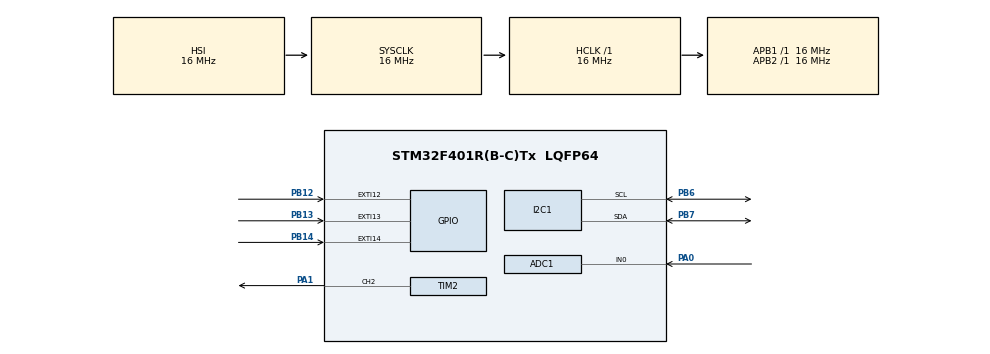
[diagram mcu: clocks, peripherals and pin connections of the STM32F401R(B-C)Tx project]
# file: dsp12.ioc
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ADC1.Channel-0\#ChannelRegularConversion=ADC_CHANNEL_0
ADC1.NbrOfConversionFlag=1
ADC1.Rank-0\#ChannelRegularConversion=1
ADC1.SamplingTime-0\#ChannelRegularConversion=ADC_SAMPLETIME_3CYCLES
ADC1.master=1
Dma.ADC1.0.Direction=DMA_PERIPH_TO_MEMORY
Dma.ADC1.0.FIFOMode=DMA_FIFOMODE_DISABLE
Dma.ADC1.0.Instance=DMA2_Stream0
Dma.ADC1.0.MemDataAlignment=DMA_MDATAALIGN_HALFWORD
Dma.ADC1.0.MemInc=DMA_MINC_ENABLE
Dma.ADC1.0.Mode=DMA_CIRCULAR
Dma.ADC1.0.PeriphDataAlignment=DMA_PDATAALIGN_HALFWORD
Dma.ADC1.0.PeriphInc=DMA_PINC_DISABLE
Dma.ADC1.0.Priority=DMA_PRIORITY_VERY_HIGH
Dma.Request0=ADC1
Dma.Request1=TIM2_CH2/CH4
Dma.TIM2_CH2/CH4.1.Direction=DMA_PERIPH_TO_MEMORY
Dma.TIM2_CH2/CH4.1.FIFOMode=DMA_FIFOMODE_DISABLE
Dma.TIM2_CH2/CH4.1.Instance=DMA1_Stream6
Dma.TIM2_CH2/CH4.1.MemDataAlignment=DMA_MDATAALIGN_HALFWORD
Dma.TIM2_CH2/CH4.1.MemInc=DMA_MINC_ENABLE
Dma.TIM2_CH2/CH4.1.Mode=DMA_CIRCULAR
Dma.TIM2_CH2/CH4.1.PeriphDataAlignment=DMA_PDATAALIGN_HALFWORD
Dma.TIM2_CH2/CH4.1.PeriphInc=DMA_PINC_DISABLE
Dma.TIM2_CH2/CH4.1.Priority=DMA_PRIORITY_HIGH
Mcu.Family=STM32F4
Mcu.Name=STM32F401R(B-C)Tx
Mcu.Package=LQFP64
NVIC.DMA1_Stream6_IRQn=true\:0\:0\:false\:false\:true\:false\:true\:true
NVIC.DMA2_Stream0_IRQn=true\:0\:0\:false\:false\:true\:false\:true\:true
NVIC.EXTI15_10_IRQn=true\:0\:0\:false\:false\:true\:true\:true\:true
NVIC.I2C1_ER_IRQn=true\:0\:0\:false\:false\:true\:true\:true\:true
NVIC.I2C1_EV_IRQn=true\:0\:0\:false\:false\:true\:true\:true\:true
NVIC.PriorityGroup=NVIC_PRIORITYGROUP_4
PA0-WKUP.Signal=ADCx_IN0
PA1.GPIO_Speed=GPIO_SPEED_FREQ_VERY_HIGH
PA1.Signal=S_TIM2_CH2
PB12.GPIO_ModeDefaultEXTI=GPIO_MODE_IT_RISING_FALLING
PB12.GPIO_PuPd=GPIO_PULLUP
PB12.Signal=GPXTI12
PB13.GPIO_ModeDefaultEXTI=GPIO_MODE_IT_RISING_FALLING
PB13.GPIO_PuPd=GPIO_PULLUP
PB13.Signal=GPXTI13
PB14.GPIO_ModeDefaultEXTI=GPIO_MODE_IT_RISING_FALLING
PB14.GPIO_PuPd=GPIO_PULLUP
PB14.Signal=GPXTI14
PB6.GPIO_Pu=GPIO_PULLUP
PB6.Mode=I2C
PB6.Signal=I2C1_SCL
PB7.GPIO_Pu=GPIO_PULLUP
PB7.Mode=I2C
PB7.Signal=I2C1_SDA
ProjectManager.HeapSize=0x200
ProjectManager.StackSize=0x400
ProjectManager.TargetToolchain=STM32CubeIDE
RCC.AHBFreq_Value=16000000
RCC.APB1Freq_Value=16000000
RCC.APB2Freq_Value=16000000
RCC.CortexFreq_Value=16000000
RCC.HSE_VALUE=25000000
RCC.HSI_VALUE=16000000
RCC.LSE_VALUE=32768
RCC.SYSCLKFreq_VALUE=16000000
RCC.VCOOutputFreq_Value=192000000
SH.ADCx_IN0.0=ADC1_IN0,IN0
SH.S_TIM2_CH2.0=TIM2_CH2,PWM Generation2 CH2
TIM2.AutoReloadPreload=TIM_AUTORELOAD_PRELOAD_ENABLE
TIM2.Channel-PWM\ Generation2\ CH2=TIM_CHANNEL_2
TIM2.OCFastMode_PWM-PWM\ Generation2\ CH2=TIM_OCFAST_ENABLE
TIM2.Period=4095
VP_TIM2_VS_ClockSourceINT.Mode=Internal
board=custom

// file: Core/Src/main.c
/* USER CODE BEGIN Header */
/**
  ******************************************************************************
  * @file           : main.c
  * @brief          : Main program body
  ******************************************************************************
  * @attention
  *
  * Copyright (c) 2025 STMicroelectronics.
  * All rights reserved.
  *
  * This software is licensed under terms that can be found in the LICENSE file
  * in the root directory of this software component.
  * If no LICENSE file comes with this software, it is provided AS-IS.
  *
  ******************************************************************************
  */
/* USER CODE END Header */
#include "main.h"

/* USER CODE BEGIN Includes */

#include "ssd1306.h"
#include <stdio.h>
#include "ssd1306_fonts.h"
#include "arm_math.h"
#include <stdbool.h>  // ✅ Enables `bool`, `true`, and `false`

/* USER CODE END Includes */

ADC_HandleTypeDef hadc1;
DMA_HandleTypeDef hdma_adc1;

I2C_HandleTypeDef hi2c1;

TIM_HandleTypeDef htim2;
DMA_HandleTypeDef hdma_tim2_ch2_ch4;

/* USER CODE BEGIN PV */
#define AUDIO_BUFFER_SIZE 1024
#define FFT_SIZE 1024  // Must be power of 2 for CMSIS-DSP FFT

uint16_t adc_buffer[AUDIO_BUFFER_SIZE];  // ADC samples
uint16_t pwm_buffer[AUDIO_BUFFER_SIZE];  // PWM output

float32_t fft_input[FFT_SIZE * 2];  // Complex input for FFT
float32_t fft_output[FFT_SIZE * 2]; // Complex output for FFT

arm_rfft_fast_instance_f32 fft_instance;  // CMSIS-DSP FFT instance

// Filter Parameters
float center_freq = 700.0f;  // Center frequency in Hz
float bandwidth = 150.0f;  // Bandwidth in Hz
float sample_rate = 16000.0f;  // Sample rate in Hz

volatile int32_t encoder_count = 0;  // Tracks encoder position
volatile uint8_t setting_mode = 0;  // 0 = Adjust Center Frequency, 1 = Adjust Bandwidth
volatile uint8_t last_encoder_state = 0;
volatile uint8_t button_pressed = 0;  // Detects button press

#define MIN_CENTER_FREQ 300.0f  // Lower limit for center frequency
#define MAX_CENTER_FREQ 3000.0f // Upper limit for center frequency
#define MIN_BANDWIDTH 50.0f     // Minimum bandwidth
#define MAX_BANDWIDTH 1000.0f   // Maximum bandwidth

// Global buffers (avoid stack overflow)
float32_t input_f32[AUDIO_BUFFER_SIZE];
float32_t output_f32[AUDIO_BUFFER_SIZE];
/* USER CODE END PV */

void SystemClock_Config(void);
static void MX_GPIO_Init(void);
static void MX_DMA_Init(void);
static void MX_ADC1_Init(void);
static void MX_TIM2_Init(void);
static void MX_I2C1_Init(void);
/* USER CODE BEGIN PFP */
void Update_Display(void);
void Init_Display(void);  //Function prototype
void Read_Encoder(void);
void MX_GPIO_Init(void);
void MX_DMA_Init(void);
void MX_ADC1_Init(void);
void MX_TIM2_Init(void);
void MX_I2C1_Init(void);
/* USER CODE END PFP */

int main(void)
{

  /* MCU Configuration--------------------------------------------------------*/

  /* Reset of all peripherals, Initializes the Flash interface and the Systick. */
  HAL_Init();

  /* Configure the system clock */
  SystemClock_Config();

  /* Initialize all configured peripherals */
  MX_GPIO_Init();
  MX_DMA_Init();
  MX_ADC1_Init();
  MX_TIM2_Init();
  MX_I2C1_Init();

  /* USER CODE BEGIN 2 */
  HAL_Delay(1000);  // Wait for OLED power-up

  HAL_StatusTypeDef result;
  uint8_t address = 0x3C << 1;  // Default SSD1306 I2C address

  // Check if OLED is detected
  result = HAL_I2C_IsDeviceReady(&hi2c1, address, 3, HAL_MAX_DELAY);
  if (result != HAL_OK) {
      ssd1306_Init();
      ssd1306_Fill(Black);
      ssd1306_SetCursor(10, 10);
      ssd1306_WriteString("I2C FAIL", Font_7x10, White);
      ssd1306_UpdateScreen();
      while (1);
  }

  // ✅ OLED is detected, continue initialization
  ssd1306_Init();
  ssd1306_Fill(Black);
  ssd1306_SetCursor(10, 10);
  ssd1306_WriteString("VA3WAV", Font_11x18, White);
  ssd1306_UpdateScreen();

  // ✅ Initialize FFT
  arm_rfft_fast_init_f32(&fft_instance, FFT_SIZE);

  Init_Display();
  Update_Display();  // Show filter parameters

  // ✅ Start ADC and PWM DMA
  HAL_ADC_Start_DMA(&hadc1, (uint32_t*)adc_buffer, AUDIO_BUFFER_SIZE);
  HAL_TIM_PWM_Start_DMA(&htim2, TIM_CHANNEL_2, (uint32_t*)pwm_buffer, AUDIO_BUFFER_SIZE);

  /* USER CODE END 2 */

  /* Infinite loop */
  /* USER CODE BEGIN WHILE */
  while (1)
  { Read_Encoder();  // Check encoder rotation
  Update_Display();  // Refresh OLED if value changed
  HAL_Delay(2);  // Avoid excessive updates
  }
    /* USER CODE END WHILE */

  return 0;  // Ensure main() ends properly
}

void SystemClock_Config(void)
{
  RCC_OscInitTypeDef RCC_OscInitStruct = {0};
  RCC_ClkInitTypeDef RCC_ClkInitStruct = {0};

  /** Configure the main internal regulator output voltage
  */
  __HAL_RCC_PWR_CLK_ENABLE();
  __HAL_PWR_VOLTAGESCALING_CONFIG(PWR_REGULATOR_VOLTAGE_SCALE2);

  /** Initializes the RCC Oscillators according to the specified parameters
  * in the RCC_OscInitTypeDef structure.
  */
  RCC_OscInitStruct.OscillatorType = RCC_OSCILLATORTYPE_HSI;
  RCC_OscInitStruct.HSIState = RCC_HSI_ON;
  RCC_OscInitStruct.HSICalibrationValue = RCC_HSICALIBRATION_DEFAULT;
  RCC_OscInitStruct.PLL.PLLState = RCC_PLL_NONE;
  if (HAL_RCC_OscConfig(&RCC_OscInitStruct) != HAL_OK)
  {
    Error_Handler();
  }

  /** Initializes the CPU, AHB and APB buses clocks
  */
  RCC_ClkInitStruct.ClockType = RCC_CLOCKTYPE_HCLK|RCC_CLOCKTYPE_SYSCLK
                              |RCC_CLOCKTYPE_PCLK1|RCC_CLOCKTYPE_PCLK2;
  RCC_ClkInitStruct.SYSCLKSource = RCC_SYSCLKSOURCE_HSI;
  RCC_ClkInitStruct.AHBCLKDivider = RCC_SYSCLK_DIV1;
  RCC_ClkInitStruct.APB1CLKDivider = RCC_HCLK_DIV1;
  RCC_ClkInitStruct.APB2CLKDivider = RCC_HCLK_DIV1;

  if (HAL_RCC_ClockConfig(&RCC_ClkInitStruct, FLASH_LATENCY_0) != HAL_OK)
  {
    Error_Handler();
  }
}

static void MX_ADC1_Init(void)
{

  ADC_ChannelConfTypeDef sConfig = {0};

  /** Configure the global features of the ADC (Clock, Resolution, Data Alignment and number of conversion)
  */
  hadc1.Instance = ADC1;
  hadc1.Init.ClockPrescaler = ADC_CLOCK_SYNC_PCLK_DIV2;
  hadc1.Init.Resolution = ADC_RESOLUTION_12B;
  hadc1.Init.ScanConvMode = DISABLE;
  hadc1.Init.ContinuousConvMode = DISABLE;
  hadc1.Init.DiscontinuousConvMode = DISABLE;
  hadc1.Init.ExternalTrigConvEdge = ADC_EXTERNALTRIGCONVEDGE_NONE;
  hadc1.Init.ExternalTrigConv = ADC_SOFTWARE_START;
  hadc1.Init.DataAlign = ADC_DATAALIGN_RIGHT;
  hadc1.Init.NbrOfConversion = 1;
  hadc1.Init.DMAContinuousRequests = DISABLE;
  hadc1.Init.EOCSelection = ADC_EOC_SINGLE_CONV;
  if (HAL_ADC_Init(&hadc1) != HAL_OK)
  {
    Error_Handler();
  }

  /** Configure for the selected ADC regular channel its corresponding rank in the sequencer and its sample time.
  */
  sConfig.Channel = ADC_CHANNEL_0;
  sConfig.Rank = 1;
  sConfig.SamplingTime = ADC_SAMPLETIME_3CYCLES;
  if (HAL_ADC_ConfigChannel(&hadc1, &sConfig) != HAL_OK)
  {
    Error_Handler();
  }

}

static void MX_I2C1_Init(void)
{

  /* USER CODE BEGIN I2C1_Init 0 */
	  // Reset I2C Bus: Set SCL and SDA High
	    HAL_GPIO_WritePin(GPIOB, GPIO_PIN_6, GPIO_PIN_SET);  // SCL High
	    HAL_GPIO_WritePin(GPIOB, GPIO_PIN_7, GPIO_PIN_SET);  // SDA High
	    HAL_Delay(10);

	    // Force I2C1 Reset
	    __HAL_RCC_I2C1_FORCE_RESET();
	    HAL_Delay(10);
	    __HAL_RCC_I2C1_RELEASE_RESET();
  /* USER CODE END I2C1_Init 0 */

	    hi2c1.Instance = I2C1;
	    hi2c1.Init.ClockSpeed = 100000;  // ✅ Standard I2C speed
	    hi2c1.Init.DutyCycle = I2C_DUTYCYCLE_2;
	    hi2c1.Init.OwnAddress1 = 0;
	    hi2c1.Init.AddressingMode = I2C_ADDRESSINGMODE_7BIT;
	    hi2c1.Init.DualAddressMode = I2C_DUALADDRESS_DISABLE;
	    hi2c1.Init.OwnAddress2 = 0;
	    hi2c1.Init.GeneralCallMode = I2C_GENERALCALL_DISABLE;
	    hi2c1.Init.NoStretchMode = I2C_NOSTRETCH_DISABLE;

	    if (HAL_I2C_Init(&hi2c1) != HAL_OK)
	    {
	        Error_Handler();
	    }

}

static void MX_TIM2_Init(void)
{

  TIM_ClockConfigTypeDef sClockSourceConfig = {0};
  TIM_MasterConfigTypeDef sMasterConfig = {0};
  TIM_OC_InitTypeDef sConfigOC = {0};

  htim2.Instance = TIM2;
  htim2.Init.Prescaler = 0;
  htim2.Init.CounterMode = TIM_COUNTERMODE_UP;
  htim2.Init.Period = 4095;
  htim2.Init.ClockDivision = TIM_CLOCKDIVISION_DIV1;
  htim2.Init.AutoReloadPreload = TIM_AUTORELOAD_PRELOAD_ENABLE;
  if (HAL_TIM_Base_Init(&htim2) != HAL_OK)
  {
    Error_Handler();
  }
  sClockSourceConfig.ClockSource = TIM_CLOCKSOURCE_INTERNAL;
  if (HAL_TIM_ConfigClockSource(&htim2, &sClockSourceConfig) != HAL_OK)
  {
    Error_Handler();
  }
  if (HAL_TIM_PWM_Init(&htim2) != HAL_OK)
  {
    Error_Handler();
  }
  sMasterConfig.MasterOutputTrigger = TIM_TRGO_RESET;
  sMasterConfig.MasterSlaveMode = TIM_MASTERSLAVEMODE_DISABLE;
  if (HAL_TIMEx_MasterConfigSynchronization(&htim2, &sMasterConfig) != HAL_OK)
  {
    Error_Handler();
  }
  sConfigOC.OCMode = TIM_OCMODE_PWM1;
  sConfigOC.Pulse = 0;
  sConfigOC.OCPolarity = TIM_OCPOLARITY_HIGH;
  sConfigOC.OCFastMode = TIM_OCFAST_ENABLE;
  if (HAL_TIM_PWM_ConfigChannel(&htim2, &sConfigOC, TIM_CHANNEL_2) != HAL_OK)
  {
    Error_Handler();
  }
  HAL_TIM_MspPostInit(&htim2);

}

static void MX_DMA_Init(void)
{

  /* DMA controller clock enable */
  __HAL_RCC_DMA2_CLK_ENABLE();
  __HAL_RCC_DMA1_CLK_ENABLE();

  /* DMA interrupt init */
  /* DMA1_Stream6_IRQn interrupt configuration */
  HAL_NVIC_SetPriority(DMA1_Stream6_IRQn, 0, 0);
  HAL_NVIC_EnableIRQ(DMA1_Stream6_IRQn);
  /* DMA2_Stream0_IRQn interrupt configuration */
  HAL_NVIC_SetPriority(DMA2_Stream0_IRQn, 0, 0);
  HAL_NVIC_EnableIRQ(DMA2_Stream0_IRQn);

}

static void MX_GPIO_Init(void)
{
  GPIO_InitTypeDef GPIO_InitStruct = {0};

  /* GPIO Ports Clock Enable */
  __HAL_RCC_GPIOA_CLK_ENABLE();
  __HAL_RCC_GPIOB_CLK_ENABLE();

  /* USER CODE BEGIN MX_GPIO_Init_2 */

  // ✅ Configure CLK (PB14) and DT (PB13) as input **without internal pull-up**
  GPIO_InitStruct.Pin = GPIO_PIN_13 | GPIO_PIN_14;
  GPIO_InitStruct.Mode = GPIO_MODE_IT_RISING_FALLING;
  GPIO_InitStruct.Pull = GPIO_NOPULL;  // ✅ Disable internal pull-up
  HAL_GPIO_Init(GPIOB, &GPIO_InitStruct);

  // ✅ Configure SW (PB12) as input **without internal pull-up**
  GPIO_InitStruct.Pin = GPIO_PIN_12;
  GPIO_InitStruct.Mode = GPIO_MODE_IT_RISING_FALLING;
  GPIO_InitStruct.Pull = GPIO_NOPULL;  // ✅ Disable internal pull-up
  HAL_GPIO_Init(GPIOB, &GPIO_InitStruct);

  // Enable Interrupts for Button Press
  HAL_NVIC_SetPriority(EXTI15_10_IRQn, 0, 0);
  HAL_NVIC_EnableIRQ(EXTI15_10_IRQn);
  /* USER CODE END MX_GPIO_Init_2 */

}
/* USER CODE BEGIN 4 */

void HAL_ADC_ConvCpltCallback(ADC_HandleTypeDef* hadc) {
    if (hadc->Instance == ADC1) {  // Ensure this is from ADC1
        uint32_t i;
        float freq_resolution = sample_rate / FFT_SIZE;
        int low_bin = (center_freq - bandwidth / 2) / freq_resolution;
        int high_bin = (center_freq + bandwidth / 2) / freq_resolution;

        // Convert ADC values to floating point (normalize to -1 to 1)
        for (i = 0; i < FFT_SIZE; i++) {
            fft_input[2 * i] = ((float32_t)adc_buffer[i] / 4096.0f) * 2.0f - 1.0f;  // Real part
            fft_input[2 * i + 1] = 0.0f;  // Imaginary part = 0
        }

        // Perform FFT
        arm_rfft_fast_f32(&fft_instance, fft_input, fft_output, 0);

        // Apply Bandpass Filtering in Frequency Domain
        for (i = 0; i < FFT_SIZE / 2; i++) {
            if (i < low_bin || i > high_bin) {
                fft_output[2 * i] = 0.0f;  // Zero out real part
                fft_output[2 * i + 1] = 0.0f;  // Zero out imaginary part
            }
        }

        // Perform Inverse FFT (IFFT) to reconstruct the filtered signal
        arm_rfft_fast_f32(&fft_instance, fft_output, fft_input, 1);

        // Convert back to PWM values (re-normalize)
        for (i = 0; i < FFT_SIZE; i++) {
            pwm_buffer[i] = (uint16_t)(((fft_input[2 * i] + 1.0f) / 2.0f) * 4096.0f);
        }
    }
}

// OLED Initialization
void Init_Display(void) {
    ssd1306_Init();
    ssd1306_Fill(Black);
    ssd1306_SetCursor(10, 10);
    ssd1306_WriteString("Audio DSP Ready", Font_7x10, White);
    ssd1306_UpdateScreen();
    HAL_Delay(1000);  // ✅ Delay so the user sees the message
    Update_Display();  // ✅ Automatically update to show filter settings
}

// Update Display with Current Filter Settings
void Update_Display(void) {
    static float last_bandwidth = -1;
    static float last_center_freq = -1;
    static uint8_t last_mode = 255;

    // ✅ Only update if a value has changed
    if (bandwidth == last_bandwidth && center_freq == last_center_freq && setting_mode == last_mode) {
        return;  // ✅ Skip screen update if values haven’t changed
    }

    char text[20];
    ssd1306_Fill(Black);  // ✅ Clear screen before updating

    // ✅ Show Bandwidth when setting_mode == 0
    if (setting_mode == 0) {
        sprintf(text, "BW: %.0fHz", bandwidth);
        ssd1306_SetCursor(10, 10);
        ssd1306_WriteString(text, Font_11x18, White);
    }
    // ✅ Show Center Frequency when setting_mode == 1
    else {
        sprintf(text, "CF: %.0fHz", center_freq);
        ssd1306_SetCursor(10, 10);
        ssd1306_WriteString(text, Font_11x18, White);
    }

    ssd1306_UpdateScreen();  // ✅ Refresh display after all updates

    // ✅ Store last values to track changes
    last_bandwidth = bandwidth;
    last_center_freq = center_freq;
    last_mode = setting_mode;
}

void HAL_GPIO_EXTI_Callback(uint16_t GPIO_Pin) {
    static uint32_t press_start_time = 0;
    static bool button_held = false;  // ✅ Track if button is held to prevent double-triggering
    uint32_t current_time = HAL_GetTick();

    // ✅ Handle Encoder Rotation (PB13 or PB14)
    if (GPIO_Pin == GPIO_PIN_13 || GPIO_Pin == GPIO_PIN_14) {
        Read_Encoder();  // ✅ Call Read_Encoder() on every valid transition
        return;
    }

    // ✅ Handle Button Press (PB12)
    if (GPIO_Pin == GPIO_PIN_12) {
        if (HAL_GPIO_ReadPin(GPIOB, GPIO_PIN_12) == GPIO_PIN_RESET) {
            // ✅ Button just got pressed (FALLING EDGE)
            press_start_time = current_time;
            button_held = false;  // ✅ Reset hold status
        }
        else {
            // ✅ Button released (RISING EDGE)
            uint32_t press_duration = current_time - press_start_time;

            // ✅ Long Press Detected (1s) → Jump to Min/Max BW
            if (press_duration > 1000 && !button_held) {
                if (setting_mode == 0) {  // ✅ If in Bandwidth mode
                    bandwidth = (bandwidth < (MAX_BANDWIDTH + MIN_BANDWIDTH) / 2) ? MAX_BANDWIDTH : MIN_BANDWIDTH;
                    Update_Display();
                }
                button_held = true;  // ✅ Prevent double-triggers
            }
            // ✅ Short Press Detected (Fast toggle)
            else if (press_duration > 50 && press_duration < 300) {
                setting_mode = !setting_mode;  // ✅ Toggle between BW and CF pages
                Update_Display();  // ✅ Immediately update OLED
            }
        }
    }
}

void Read_Encoder(void) {
    static uint8_t last_clk = 1;
    static uint32_t last_step_time = 0;
    uint32_t current_time = HAL_GetTick();

    // ✅ Debounce movement (Ignore fast double steps)
    if (current_time - last_step_time < 5) {  // 5ms debounce
        return;
    }

    uint8_t clk = HAL_GPIO_ReadPin(GPIOB, GPIO_PIN_14);
    uint8_t dt = HAL_GPIO_ReadPin(GPIOB, GPIO_PIN_13);

    if (clk == 0 && last_clk == 1) {  // ✅ Detect falling edge of CLK
        int step_size = 10;  // ✅ Normal step size

        if (setting_mode == 0) {  // ✅ Adjust Bandwidth
            if (dt == 1) {
                bandwidth += step_size;
                if (bandwidth > 3000.0f) bandwidth = 3000.0f;
            } else {
                bandwidth -= step_size;
                if (bandwidth < 50.0f) bandwidth = 50.0f;
            }
        }
        else {  // ✅ Adjust Center Frequency
            if (dt == 1) {
                center_freq += step_size;
                if (center_freq > 3000.0f) center_freq = 3000.0f;
            } else {
                center_freq -= step_size;
                if (center_freq < 50.0f) center_freq = 50.0f;
            }
        }

        Update_Display();  // ✅ Update OLED only when value actually changes
        last_step_time = current_time;  // ✅ Store last valid step time
    }

    last_clk = clk;  // ✅ Store last CLK state
}

/* USER CODE END 4 */

void Error_Handler(void)
{
  __disable_irq();
  while (1)
  {
  }
}
